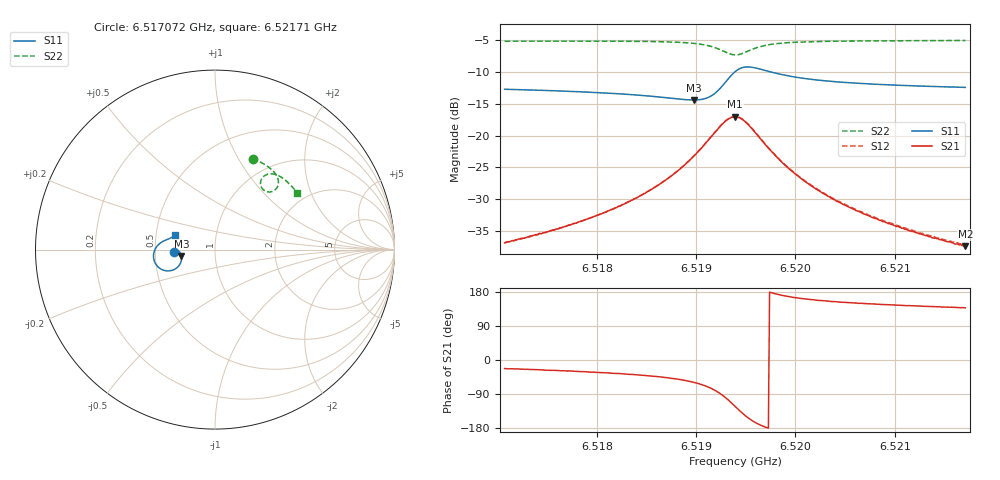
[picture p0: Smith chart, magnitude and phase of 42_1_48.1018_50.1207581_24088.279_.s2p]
#  HZ  S  RI  R  50.00
! Rohde & Schwarz Vector Network Analyzer
! Rohde-Schwarz,ZNB20-2Port,1311601062101988,3.16
! Created: UTC 12/23/2023, 3:38:49 AM
! freq[Hz]  re:S11  im:S11  re:S21  im:S21  re:S12  im:S12  re:S22  im:S22
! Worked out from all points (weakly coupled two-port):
!   401 points, 6.517072 GHz to 6.52171 GHz, reference 50 ohm
!   highest |S21| = -17.06 dB at 6.519391 GHz (marker M1); lowest = -37.3 dB at 6.52171 GHz (marker M2)
!   lowest |S11| = -14.4 dB at 6.518974 GHz (marker M3), VSWR 1.47, Z = 34.2 - j2.48 ohm
!   |S11| at or under -10 dB: start of sweep to 6.519391 GHz; 6.519744 GHz to end of sweep
!   |S22| runs from -7.4 to -5.1 dB; largest |S21 - S12| = 0.0042
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6.5170719e9  -0.2301 -0.0158  0.0133 -0.00554  0.0136 -0.00511  0.2091 0.5073
6.5174082e9  -0.2263 -0.0109  0.0152 -0.00727  0.0153 -0.00684  0.2338 0.4965
6.5178488e9  -0.2201 -0.0059  0.0184 -0.0109  0.0188 -0.0103  0.2664 0.4799
6.5182547e9  -0.2116 -0.00423  0.023 -0.017  0.0236 -0.0163  0.2968 0.4604
6.5186258e9  -0.2003 -0.00926  0.0295 -0.0287  0.0305 -0.0279  0.3257 0.4358
6.5188113e9  -0.1929 -0.0183  0.0335 -0.0405  0.0349 -0.0398  0.34 0.4176
6.5189737e9  -0.1868 -0.035  0.0355 -0.0587  0.0375 -0.0579  0.3507 0.3946
6.5190781e9  -0.1861 -0.0539  0.0328 -0.0771  0.0353 -0.0768  0.3535 0.3738
6.5191708e9  -0.1938 -0.0785  0.0222 -0.0994  0.0252 -0.0995  0.348 0.3506
6.5192984e9  -0.2375 -0.115  -0.0225 -0.1282  -0.0187 -0.13  0.3139 0.3223
6.5193448e9  -0.2658 -0.1186  -0.0484 -0.1287  -0.0451 -0.1311  0.2935 0.3215
6.5193912e9  -0.296 -0.111  -0.0747 -0.1187  -0.0719 -0.1218  0.2736 0.33
6.5194375e9  -0.3212 -0.0922  -0.0952 -0.0995  -0.0931 -0.1029  0.2592 0.3466
6.5194955e9  -0.3391 -0.0603  -0.1075 -0.0697  -0.1062 -0.0733  0.2534 0.3713
6.5195999e9  -0.3384 -0.00936  -0.1012 -0.026  -0.1012 -0.0291  0.2678 0.4049
6.5196927e9  -0.3236 0.018  -0.0856 -0.00498  -0.0861 -0.00746  0.2883 0.4185
6.519913e9  -0.2918 0.0449  -0.0557 0.0117  -0.0566 0.0102  0.3285 0.4208
6.5201681e9  -0.2697 0.055  -0.0373 0.0144  -0.0381 0.0133  0.3591 0.4093
6.520516e9  -0.2528 0.0617  -0.0247 0.0133  -0.0255 0.0128  0.3884 0.3894
6.5209451e9  -0.2401 0.068  -0.0169 0.0115  -0.0175 0.0112  0.4165 0.364
6.5214321e9  -0.2301 0.0747  -0.0119 0.00995  -0.0124 0.00972  0.4432 0.3345
6.5217104e9  -0.2252 0.0786  -0.01 0.00919  -0.0106 0.00896  0.4569 0.3171
